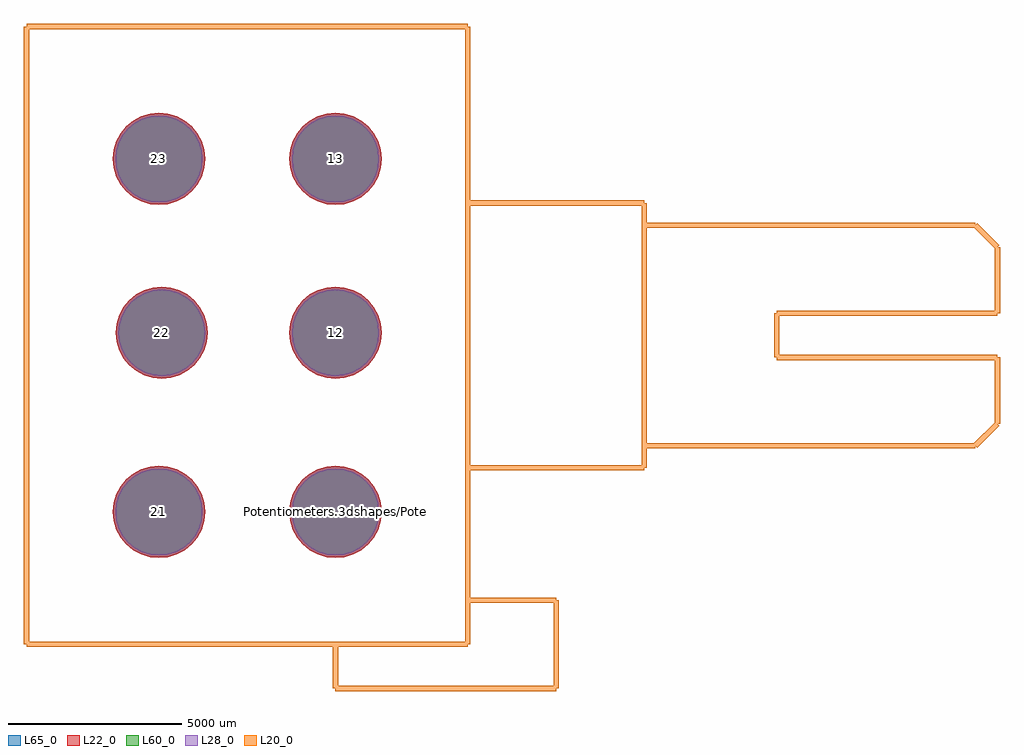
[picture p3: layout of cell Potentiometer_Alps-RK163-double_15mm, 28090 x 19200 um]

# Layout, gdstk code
import gdstk
lib = gdstk.Library(unit=1e-6, precision=1e-09)
def P(c, l, *ps):  # polygons
    for p in ps: c.add(gdstk.Polygon(p, *l))
L20_0 = (20, 0)
L22_0 = (22, 0)
L28_0 = (28, 0)
L60_0 = (60, 0)
L65_0 = (65, 0)

potentiometer_alps_rk163 = lib.new_cell('Potentiometer_Alps-RK163-double_15mm')
P(potentiometer_alps_rk163, L22_0, [(1324.68,0),(1299.227,258.432),(1223.845,506.933),(1101.431,735.953),(936.69,936.69),(735.953,1101.431),(506.933,1223.845),(258.432,1299.227),(0,1324.68),(-258.432,1299.227),(-506.933,1223.845),(-735.953,1101.431),(-936.69,936.69),(-1101.431,735.953),(-1223.845,506.933),(-1299.227,258.432),(-1324.68,0),(-1299.227,-258.432),(-1223.845,-506.933),(-1101.431,-735.953),(-936.69,-936.69),(-735.953,-1101.431),(-506.933,-1223.845),(-258.432,-1299.227),(0,-1324.68),(258.432,-1299.227),(506.933,-1223.845),(735.953,-1101.431),(936.69,-936.69),(1101.431,-735.953),(1223.845,-506.933),(1299.227,-258.432)],
  [(1324.68,10160),(1299.227,10418.432),(1223.845,10666.933),(1101.431,10895.953),(936.69,11096.69),(735.953,11261.431),(506.933,11383.845),(258.432,11459.227),(0,11484.68),(-258.432,11459.227),(-506.933,11383.845),(-735.953,11261.431),(-936.69,11096.69),(-1101.431,10895.953),(-1223.845,10666.933),(-1299.227,10418.432),(-1324.68,10160),(-1299.227,9901.568),(-1223.845,9653.067),(-1101.431,9424.047),(-936.69,9223.31),(-735.953,9058.569),(-506.933,8936.155),(-258.432,8860.773),(0,8835.32),(258.432,8860.773),(506.933,8936.155),(735.953,9058.569),(936.69,9223.31),(1101.431,9424.047),(1223.845,9653.067),(1299.227,9901.568)],
  [(1324.68,5158.74),(1299.227,5417.172),(1223.845,5665.673),(1101.431,5894.693),(936.69,6095.43),(735.953,6260.171),(506.933,6382.585),(258.432,6457.967),(0,6483.42),(-258.432,6457.967),(-506.933,6382.585),(-735.953,6260.171),(-936.69,6095.43),(-1101.431,5894.693),(-1223.845,5665.673),(-1299.227,5417.172),(-1324.68,5158.74),(-1299.227,4900.308),(-1223.845,4651.807),(-1101.431,4422.787),(-936.69,4222.05),(-735.953,4057.309),(-506.933,3934.895),(-258.432,3859.513),(0,3834.06),(258.432,3859.513),(506.933,3934.895),(735.953,4057.309),(936.69,4222.05),(1101.431,4422.787),(1223.845,4651.807),(1299.227,4900.308)],
  [(-3755.32,0),(-3780.773,258.432),(-3856.155,506.933),(-3978.569,735.953),(-4143.31,936.69),(-4344.047,1101.431),(-4573.067,1223.845),(-4821.568,1299.227),(-5080,1324.68),(-5338.432,1299.227),(-5586.933,1223.845),(-5815.953,1101.431),(-6016.69,936.69),(-6181.431,735.953),(-6303.845,506.933),(-6379.227,258.432),(-6404.68,0),(-6379.227,-258.432),(-6303.845,-506.933),(-6181.431,-735.953),(-6016.69,-936.69),(-5815.953,-1101.431),(-5586.933,-1223.845),(-5338.432,-1299.227),(-5080,-1324.68),(-4821.568,-1299.227),(-4573.067,-1223.845),(-4344.047,-1101.431),(-4143.31,-936.69),(-3978.569,-735.953),(-3856.155,-506.933),(-3780.773,-258.432)],
  [(-3676.58,5158.74),(-3702.033,5417.172),(-3777.415,5665.673),(-3899.829,5894.693),(-4064.57,6095.43),(-4265.307,6260.171),(-4494.327,6382.585),(-4742.828,6457.967),(-5001.26,6483.42),(-5259.692,6457.967),(-5508.193,6382.585),(-5737.213,6260.171),(-5937.95,6095.43),(-6102.691,5894.693),(-6225.105,5665.673),(-6300.487,5417.172),(-6325.94,5158.74),(-6300.487,4900.308),(-6225.105,4651.807),(-6102.691,4422.787),(-5937.95,4222.05),(-5737.213,4057.309),(-5508.193,3934.895),(-5259.692,3859.513),(-5001.26,3834.06),(-4742.828,3859.513),(-4494.327,3934.895),(-4265.307,4057.309),(-4064.57,4222.05),(-3899.829,4422.787),(-3777.415,4651.807),(-3702.033,4900.308)],
  [(-3755.32,10160),(-3780.773,10418.432),(-3856.155,10666.933),(-3978.569,10895.953),(-4143.31,11096.69),(-4344.047,11261.431),(-4573.067,11383.845),(-4821.568,11459.227),(-5080,11484.68),(-5338.432,11459.227),(-5586.933,11383.845),(-5815.953,11261.431),(-6016.69,11096.69),(-6181.431,10895.953),(-6303.845,10666.933),(-6379.227,10418.432),(-6404.68,10160),(-6379.227,9901.568),(-6303.845,9653.067),(-6181.431,9424.047),(-6016.69,9223.31),(-5815.953,9058.569),(-5586.933,8936.155),(-5338.432,8860.773),(-5080,8835.32),(-4821.568,8860.773),(-4573.067,8936.155),(-4344.047,9058.569),(-4143.31,9223.31),(-3978.569,9424.047),(-3856.155,9653.067),(-3780.773,9901.568)])
P(potentiometer_alps_rk163, L28_0, [(1249.68,0),(1225.668,243.8),(1154.554,478.232),(1039.071,694.285),(883.657,883.657),(694.285,1039.071),(478.232,1154.554),(243.8,1225.668),(0,1249.68),(-243.8,1225.668),(-478.232,1154.554),(-694.285,1039.071),(-883.657,883.657),(-1039.071,694.285),(-1154.554,478.232),(-1225.668,243.8),(-1249.68,0),(-1225.668,-243.8),(-1154.554,-478.232),(-1039.071,-694.285),(-883.657,-883.657),(-694.285,-1039.071),(-478.232,-1154.554),(-243.8,-1225.668),(0,-1249.68),(243.8,-1225.668),(478.232,-1154.554),(694.285,-1039.071),(883.657,-883.657),(1039.071,-694.285),(1154.554,-478.232),(1225.668,-243.8)],
  [(1249.68,10160),(1225.668,10403.8),(1154.554,10638.232),(1039.071,10854.285),(883.657,11043.657),(694.285,11199.071),(478.232,11314.554),(243.8,11385.668),(0,11409.68),(-243.8,11385.668),(-478.232,11314.554),(-694.285,11199.071),(-883.657,11043.657),(-1039.071,10854.285),(-1154.554,10638.232),(-1225.668,10403.8),(-1249.68,10160),(-1225.668,9916.2),(-1154.554,9681.768),(-1039.071,9465.715),(-883.657,9276.343),(-694.285,9120.929),(-478.232,9005.446),(-243.8,8934.332),(0,8910.32),(243.8,8934.332),(478.232,9005.446),(694.285,9120.929),(883.657,9276.343),(1039.071,9465.715),(1154.554,9681.768),(1225.668,9916.2)],
  [(1249.68,5158.74),(1225.668,5402.54),(1154.554,5636.972),(1039.071,5853.025),(883.657,6042.397),(694.285,6197.811),(478.232,6313.294),(243.8,6384.408),(0,6408.42),(-243.8,6384.408),(-478.232,6313.294),(-694.285,6197.811),(-883.657,6042.397),(-1039.071,5853.025),(-1154.554,5636.972),(-1225.668,5402.54),(-1249.68,5158.74),(-1225.668,4914.94),(-1154.554,4680.508),(-1039.071,4464.455),(-883.657,4275.083),(-694.285,4119.669),(-478.232,4004.186),(-243.8,3933.072),(0,3909.06),(243.8,3933.072),(478.232,4004.186),(694.285,4119.669),(883.657,4275.083),(1039.071,4464.455),(1154.554,4680.508),(1225.668,4914.94)],
  [(-3830.32,0),(-3854.332,243.8),(-3925.446,478.232),(-4040.929,694.285),(-4196.343,883.657),(-4385.715,1039.071),(-4601.768,1154.554),(-4836.2,1225.668),(-5080,1249.68),(-5323.8,1225.668),(-5558.232,1154.554),(-5774.285,1039.071),(-5963.657,883.657),(-6119.071,694.285),(-6234.554,478.232),(-6305.668,243.8),(-6329.68,0),(-6305.668,-243.8),(-6234.554,-478.232),(-6119.071,-694.285),(-5963.657,-883.657),(-5774.285,-1039.071),(-5558.232,-1154.554),(-5323.8,-1225.668),(-5080,-1249.68),(-4836.2,-1225.668),(-4601.768,-1154.554),(-4385.715,-1039.071),(-4196.343,-883.657),(-4040.929,-694.285),(-3925.446,-478.232),(-3854.332,-243.8)],
  [(-3751.58,5158.74),(-3775.592,5402.54),(-3846.706,5636.972),(-3962.189,5853.025),(-4117.603,6042.397),(-4306.975,6197.811),(-4523.028,6313.294),(-4757.46,6384.408),(-5001.26,6408.42),(-5245.06,6384.408),(-5479.492,6313.294),(-5695.545,6197.811),(-5884.917,6042.397),(-6040.331,5853.025),(-6155.814,5636.972),(-6226.928,5402.54),(-6250.94,5158.74),(-6226.928,4914.94),(-6155.814,4680.508),(-6040.331,4464.455),(-5884.917,4275.083),(-5695.545,4119.669),(-5479.492,4004.186),(-5245.06,3933.072),(-5001.26,3909.06),(-4757.46,3933.072),(-4523.028,4004.186),(-4306.975,4119.669),(-4117.603,4275.083),(-3962.189,4464.455),(-3846.706,4680.508),(-3775.592,4914.94)],
  [(-3830.32,10160),(-3854.332,10403.8),(-3925.446,10638.232),(-4040.929,10854.285),(-4196.343,11043.657),(-4385.715,11199.071),(-4601.768,11314.554),(-4836.2,11385.668),(-5080,11409.68),(-5323.8,11385.668),(-5558.232,11314.554),(-5774.285,11199.071),(-5963.657,11043.657),(-6119.071,10854.285),(-6234.554,10638.232),(-6305.668,10403.8),(-6329.68,10160),(-6305.668,9916.2),(-6234.554,9681.768),(-6119.071,9465.715),(-5963.657,9276.343),(-5774.285,9120.929),(-5558.232,9005.446),(-5323.8,8934.332),(-5080,8910.32),(-4836.2,8934.332),(-4601.768,9005.446),(-4385.715,9120.929),(-4196.343,9276.343),(-4040.929,9465.715),(-3925.446,9681.768),(-3854.332,9916.2)])
P(potentiometer_alps_rk163, L60_0, [(1249.68,0),(1225.668,243.8),(1154.554,478.232),(1039.071,694.285),(883.657,883.657),(694.285,1039.071),(478.232,1154.554),(243.8,1225.668),(0,1249.68),(-243.8,1225.668),(-478.232,1154.554),(-694.285,1039.071),(-883.657,883.657),(-1039.071,694.285),(-1154.554,478.232),(-1225.668,243.8),(-1249.68,0),(-1225.668,-243.8),(-1154.554,-478.232),(-1039.071,-694.285),(-883.657,-883.657),(-694.285,-1039.071),(-478.232,-1154.554),(-243.8,-1225.668),(0,-1249.68),(243.8,-1225.668),(478.232,-1154.554),(694.285,-1039.071),(883.657,-883.657),(1039.071,-694.285),(1154.554,-478.232),(1225.668,-243.8)],
  [(1249.68,10160),(1225.668,10403.8),(1154.554,10638.232),(1039.071,10854.285),(883.657,11043.657),(694.285,11199.071),(478.232,11314.554),(243.8,11385.668),(0,11409.68),(-243.8,11385.668),(-478.232,11314.554),(-694.285,11199.071),(-883.657,11043.657),(-1039.071,10854.285),(-1154.554,10638.232),(-1225.668,10403.8),(-1249.68,10160),(-1225.668,9916.2),(-1154.554,9681.768),(-1039.071,9465.715),(-883.657,9276.343),(-694.285,9120.929),(-478.232,9005.446),(-243.8,8934.332),(0,8910.32),(243.8,8934.332),(478.232,9005.446),(694.285,9120.929),(883.657,9276.343),(1039.071,9465.715),(1154.554,9681.768),(1225.668,9916.2)],
  [(1249.68,5158.74),(1225.668,5402.54),(1154.554,5636.972),(1039.071,5853.025),(883.657,6042.397),(694.285,6197.811),(478.232,6313.294),(243.8,6384.408),(0,6408.42),(-243.8,6384.408),(-478.232,6313.294),(-694.285,6197.811),(-883.657,6042.397),(-1039.071,5853.025),(-1154.554,5636.972),(-1225.668,5402.54),(-1249.68,5158.74),(-1225.668,4914.94),(-1154.554,4680.508),(-1039.071,4464.455),(-883.657,4275.083),(-694.285,4119.669),(-478.232,4004.186),(-243.8,3933.072),(0,3909.06),(243.8,3933.072),(478.232,4004.186),(694.285,4119.669),(883.657,4275.083),(1039.071,4464.455),(1154.554,4680.508),(1225.668,4914.94)],
  [(-3830.32,0),(-3854.332,243.8),(-3925.446,478.232),(-4040.929,694.285),(-4196.343,883.657),(-4385.715,1039.071),(-4601.768,1154.554),(-4836.2,1225.668),(-5080,1249.68),(-5323.8,1225.668),(-5558.232,1154.554),(-5774.285,1039.071),(-5963.657,883.657),(-6119.071,694.285),(-6234.554,478.232),(-6305.668,243.8),(-6329.68,0),(-6305.668,-243.8),(-6234.554,-478.232),(-6119.071,-694.285),(-5963.657,-883.657),(-5774.285,-1039.071),(-5558.232,-1154.554),(-5323.8,-1225.668),(-5080,-1249.68),(-4836.2,-1225.668),(-4601.768,-1154.554),(-4385.715,-1039.071),(-4196.343,-883.657),(-4040.929,-694.285),(-3925.446,-478.232),(-3854.332,-243.8)],
  [(-3751.58,5158.74),(-3775.592,5402.54),(-3846.706,5636.972),(-3962.189,5853.025),(-4117.603,6042.397),(-4306.975,6197.811),(-4523.028,6313.294),(-4757.46,6384.408),(-5001.26,6408.42),(-5245.06,6384.408),(-5479.492,6313.294),(-5695.545,6197.811),(-5884.917,6042.397),(-6040.331,5853.025),(-6155.814,5636.972),(-6226.928,5402.54),(-6250.94,5158.74),(-6226.928,4914.94),(-6155.814,4680.508),(-6040.331,4464.455),(-5884.917,4275.083),(-5695.545,4119.669),(-5479.492,4004.186),(-5245.06,3933.072),(-5001.26,3909.06),(-4757.46,3933.072),(-4523.028,4004.186),(-4306.975,4119.669),(-4117.603,4275.083),(-3962.189,4464.455),(-3846.706,4680.508),(-3775.592,4914.94)],
  [(-3830.32,10160),(-3854.332,10403.8),(-3925.446,10638.232),(-4040.929,10854.285),(-4196.343,11043.657),(-4385.715,11199.071),(-4601.768,11314.554),(-4836.2,11385.668),(-5080,11409.68),(-5323.8,11385.668),(-5558.232,11314.554),(-5774.285,11199.071),(-5963.657,11043.657),(-6119.071,10854.285),(-6234.554,10638.232),(-6305.668,10403.8),(-6329.68,10160),(-6305.668,9916.2),(-6234.554,9681.768),(-6119.071,9465.715),(-5963.657,9276.343),(-5774.285,9120.929),(-5558.232,9005.446),(-5323.8,8934.332),(-5080,8910.32),(-4836.2,8934.332),(-4601.768,9005.446),(-4385.715,9120.929),(-4196.343,9276.343),(-4040.929,9465.715),(-3925.446,9681.768),(-3854.332,9916.2)])
P(potentiometer_alps_rk163, L65_0, [(1324.68,0),(1299.227,258.432),(1223.845,506.933),(1101.431,735.953),(936.69,936.69),(735.953,1101.431),(506.933,1223.845),(258.432,1299.227),(0,1324.68),(-258.432,1299.227),(-506.933,1223.845),(-735.953,1101.431),(-936.69,936.69),(-1101.431,735.953),(-1223.845,506.933),(-1299.227,258.432),(-1324.68,0),(-1299.227,-258.432),(-1223.845,-506.933),(-1101.431,-735.953),(-936.69,-936.69),(-735.953,-1101.431),(-506.933,-1223.845),(-258.432,-1299.227),(0,-1324.68),(258.432,-1299.227),(506.933,-1223.845),(735.953,-1101.431),(936.69,-936.69),(1101.431,-735.953),(1223.845,-506.933),(1299.227,-258.432)],
  [(1324.68,10160),(1299.227,10418.432),(1223.845,10666.933),(1101.431,10895.953),(936.69,11096.69),(735.953,11261.431),(506.933,11383.845),(258.432,11459.227),(0,11484.68),(-258.432,11459.227),(-506.933,11383.845),(-735.953,11261.431),(-936.69,11096.69),(-1101.431,10895.953),(-1223.845,10666.933),(-1299.227,10418.432),(-1324.68,10160),(-1299.227,9901.568),(-1223.845,9653.067),(-1101.431,9424.047),(-936.69,9223.31),(-735.953,9058.569),(-506.933,8936.155),(-258.432,8860.773),(0,8835.32),(258.432,8860.773),(506.933,8936.155),(735.953,9058.569),(936.69,9223.31),(1101.431,9424.047),(1223.845,9653.067),(1299.227,9901.568)],
  [(1324.68,5158.74),(1299.227,5417.172),(1223.845,5665.673),(1101.431,5894.693),(936.69,6095.43),(735.953,6260.171),(506.933,6382.585),(258.432,6457.967),(0,6483.42),(-258.432,6457.967),(-506.933,6382.585),(-735.953,6260.171),(-936.69,6095.43),(-1101.431,5894.693),(-1223.845,5665.673),(-1299.227,5417.172),(-1324.68,5158.74),(-1299.227,4900.308),(-1223.845,4651.807),(-1101.431,4422.787),(-936.69,4222.05),(-735.953,4057.309),(-506.933,3934.895),(-258.432,3859.513),(0,3834.06),(258.432,3859.513),(506.933,3934.895),(735.953,4057.309),(936.69,4222.05),(1101.431,4422.787),(1223.845,4651.807),(1299.227,4900.308)],
  [(-3755.32,0),(-3780.773,258.432),(-3856.155,506.933),(-3978.569,735.953),(-4143.31,936.69),(-4344.047,1101.431),(-4573.067,1223.845),(-4821.568,1299.227),(-5080,1324.68),(-5338.432,1299.227),(-5586.933,1223.845),(-5815.953,1101.431),(-6016.69,936.69),(-6181.431,735.953),(-6303.845,506.933),(-6379.227,258.432),(-6404.68,0),(-6379.227,-258.432),(-6303.845,-506.933),(-6181.431,-735.953),(-6016.69,-936.69),(-5815.953,-1101.431),(-5586.933,-1223.845),(-5338.432,-1299.227),(-5080,-1324.68),(-4821.568,-1299.227),(-4573.067,-1223.845),(-4344.047,-1101.431),(-4143.31,-936.69),(-3978.569,-735.953),(-3856.155,-506.933),(-3780.773,-258.432)],
  [(-3676.58,5158.74),(-3702.033,5417.172),(-3777.415,5665.673),(-3899.829,5894.693),(-4064.57,6095.43),(-4265.307,6260.171),(-4494.327,6382.585),(-4742.828,6457.967),(-5001.26,6483.42),(-5259.692,6457.967),(-5508.193,6382.585),(-5737.213,6260.171),(-5937.95,6095.43),(-6102.691,5894.693),(-6225.105,5665.673),(-6300.487,5417.172),(-6325.94,5158.74),(-6300.487,4900.308),(-6225.105,4651.807),(-6102.691,4422.787),(-5937.95,4222.05),(-5737.213,4057.309),(-5508.193,3934.895),(-5259.692,3859.513),(-5001.26,3834.06),(-4742.828,3859.513),(-4494.327,3934.895),(-4265.307,4057.309),(-4064.57,4222.05),(-3899.829,4422.787),(-3777.415,4651.807),(-3702.033,4900.308)],
  [(-3755.32,10160),(-3780.773,10418.432),(-3856.155,10666.933),(-3978.569,10895.953),(-4143.31,11096.69),(-4344.047,11261.431),(-4573.067,11383.845),(-4821.568,11459.227),(-5080,11484.68),(-5338.432,11459.227),(-5586.933,11383.845),(-5815.953,11261.431),(-6016.69,11096.69),(-6181.431,10895.953),(-6303.845,10666.933),(-6379.227,10418.432),(-6404.68,10160),(-6379.227,9901.568),(-6303.845,9653.067),(-6181.431,9424.047),(-6016.69,9223.31),(-5815.953,9058.569),(-5586.933,8936.155),(-5338.432,8860.773),(-5080,8835.32),(-4821.568,8860.773),(-4573.067,8936.155),(-4344.047,9058.569),(-4143.31,9223.31),(-3978.569,9424.047),(-3856.155,9653.067),(-3780.773,9901.568)])
potentiometer_alps_rk163.add(gdstk.FlexPath([(3810,13970),(3810,-3810)], 149.998, ends="flush", simple_path=True, layer=20, datatype=0))  # L20_0
potentiometer_alps_rk163.add(gdstk.FlexPath([(8890,8890),(3810,8890)], 149.998, ends="flush", simple_path=True, layer=20, datatype=0))  # L20_0
potentiometer_alps_rk163.add(gdstk.FlexPath([(8890,1270),(8890,8890)], 149.998, ends="flush", simple_path=True, layer=20, datatype=0))  # L20_0
potentiometer_alps_rk163.add(gdstk.FlexPath([(3810,1270),(8890,1270)], 149.998, ends="flush", simple_path=True, layer=20, datatype=0))  # L20_0
potentiometer_alps_rk163.add(gdstk.FlexPath([(6350,-2540),(6350,-5080)], 149.998, ends="flush", simple_path=True, layer=20, datatype=0))  # L20_0
potentiometer_alps_rk163.add(gdstk.FlexPath([(3810,-2540),(6350,-2540)], 149.998, ends="flush", simple_path=True, layer=20, datatype=0))  # L20_0
potentiometer_alps_rk163.add(gdstk.FlexPath([(-8890,-3810),(-8890,13970)], 149.998, ends="flush", simple_path=True, layer=20, datatype=0))  # L20_0
potentiometer_alps_rk163.add(gdstk.FlexPath([(3810,-3810),(-8890,-3810)], 149.998, ends="flush", simple_path=True, layer=20, datatype=0))  # L20_0
potentiometer_alps_rk163.add(gdstk.FlexPath([(3810,13970),(-8890,13970)], 149.998, ends="flush", simple_path=True, layer=20, datatype=0))  # L20_0
potentiometer_alps_rk163.add(gdstk.FlexPath([(0,-5080),(0,-3810)], 149.998, ends="flush", simple_path=True, layer=20, datatype=0))  # L20_0
potentiometer_alps_rk163.add(gdstk.FlexPath([(6350,-5080),(0,-5080)], 149.998, ends="flush", simple_path=True, layer=20, datatype=0))  # L20_0
potentiometer_alps_rk163.add(gdstk.FlexPath([(18415,1905),(8890,1905)], 149.998, ends="flush", simple_path=True, layer=20, datatype=0))  # L20_0
potentiometer_alps_rk163.add(gdstk.FlexPath([(19050,2540),(18415,1905)], 149.998, ends="flush", simple_path=True, layer=20, datatype=0))  # L20_0
potentiometer_alps_rk163.add(gdstk.FlexPath([(18415,8255),(19050,7620)], 149.998, ends="flush", simple_path=True, layer=20, datatype=0))  # L20_0
potentiometer_alps_rk163.add(gdstk.FlexPath([(8890,8255),(18415,8255)], 149.998, ends="flush", simple_path=True, layer=20, datatype=0))  # L20_0
potentiometer_alps_rk163.add(gdstk.FlexPath([(12700,4445),(19050,4445)], 149.998, ends="flush", simple_path=True, layer=20, datatype=0))  # L20_0
potentiometer_alps_rk163.add(gdstk.FlexPath([(12700,5715),(19050,5715)], 149.998, ends="flush", simple_path=True, layer=20, datatype=0))  # L20_0
potentiometer_alps_rk163.add(gdstk.FlexPath([(12700,4445),(12700,5715)], 149.998, ends="flush", simple_path=True, layer=20, datatype=0))  # L20_0
potentiometer_alps_rk163.add(gdstk.FlexPath([(19050,5715),(19050,7620)], 149.998, ends="flush", simple_path=True, layer=20, datatype=0))  # L20_0
potentiometer_alps_rk163.add(gdstk.FlexPath([(19050,4445),(19050,2540)], 149.998, ends="flush", simple_path=True, layer=20, datatype=0))  # L20_0
potentiometer_alps_rk163.add(gdstk.Label('Potentiometers.3dshapes/Potentiometer_Alps-RK163-double_15mm.wrl', (0,0), layer=12, texttype=0))
potentiometer_alps_rk163.add(gdstk.Label('11', (0,0), layer=28, texttype=0))
potentiometer_alps_rk163.add(gdstk.Label('13', (0,10160), layer=28, texttype=0))
potentiometer_alps_rk163.add(gdstk.Label('12', (0,5158.74), layer=28, texttype=0))
potentiometer_alps_rk163.add(gdstk.Label('21', (-5080,0), layer=28, texttype=0))
potentiometer_alps_rk163.add(gdstk.Label('22', (-5001.26,5158.74), layer=28, texttype=0))
potentiometer_alps_rk163.add(gdstk.Label('23', (-5080,10160), layer=28, texttype=0))
potentiometer_alps_rk163.add(gdstk.Label('type', (0,-7620), layer=9, texttype=0))
potentiometer_alps_rk163.add(gdstk.Label('devicename', (-2540,16510), layer=9, texttype=0))

lib.write_gds('Potentiometer_Alps-RK163-double_15mm.gds')
